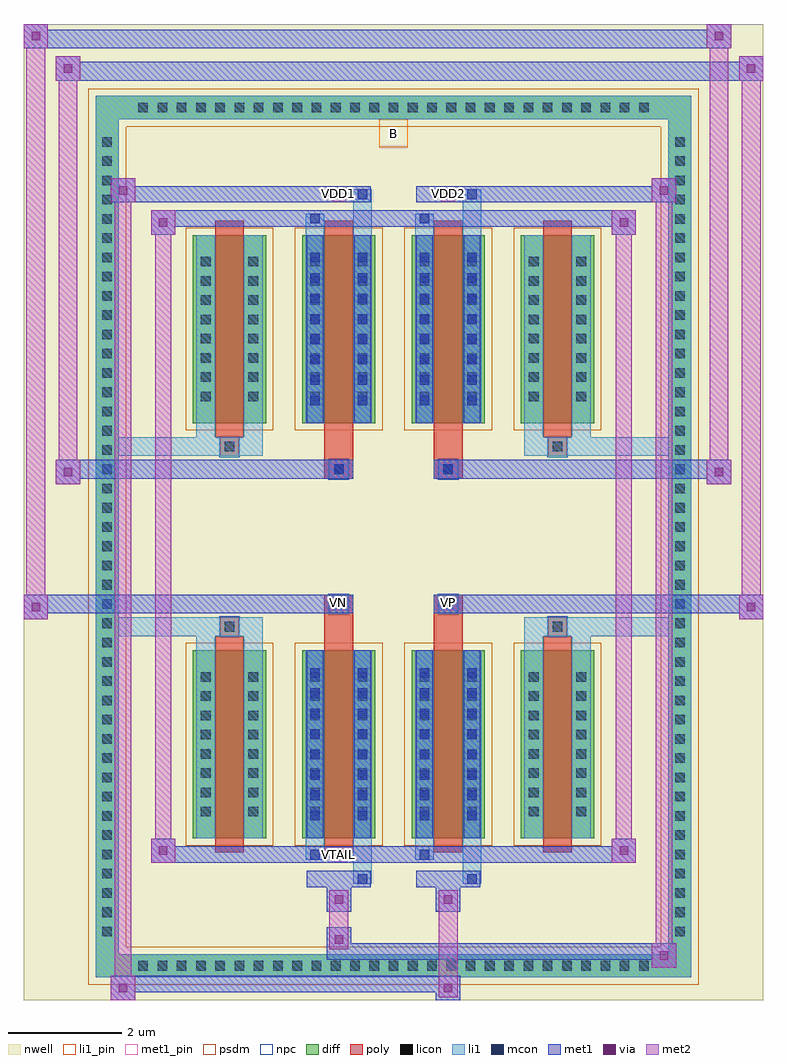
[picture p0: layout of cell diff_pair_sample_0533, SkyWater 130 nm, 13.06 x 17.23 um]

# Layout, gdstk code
import gdstk
lib = gdstk.Library(unit=1e-6, precision=5e-09)
def R(c, l, rs):  # rectangles x0, y0, x1, y1
    for r in rs: c.add(gdstk.rectangle(r[:2], r[2:], *l))
def A(c, l, x, y, w, h, nx, ny, dx, dy):  # array of equal rectangles
    R(c, l, [(x+i*dx, y+j*dy, x+i*dx+w, y+j*dy+h) for i in range(nx) for j in range(ny)])
def P(c, l, *ps):  # polygons
    for p in ps: c.add(gdstk.Polygon(p, *l))
nwell = (64, 20)
diff = (65, 20)
poly = (66, 20)
licon = (66, 44)
li1_pin = (67, 16)
li1 = (67, 20)
mcon = (67, 44)
met1_pin = (68, 16)
met1 = (68, 20)
via = (68, 44)
met2 = (69, 20)
psdm = (94, 20)
npc = (95, 20)

diff_pair_sample_0533 = lib.new_cell('diff_pair_sample_0533')
R(diff_pair_sample_0533, nwell, [(-6.53,-8.18,6.53,9.05), (-3.85,-6.37,-0.01,-0.825), (0.01,-6.37,3.85,-0.825), (-3.85,0.825,-0.01,6.37), (0.01,0.825,3.85,6.37)])
A(diff_pair_sample_0533, diff, -4.625, -7.78, 0.41, 0.41, 27, 2, 0.34, 15.15)
A(diff_pair_sample_0533, diff, -5.26, -7.175, 0.41, 0.41, 1, 42, 0, 0.34)
A(diff_pair_sample_0533, diff, 4.85, -7.175, 0.41, 0.41, 1, 42, 0, 0.34)
A(diff_pair_sample_0533, diff, -3.54, -5.325, 1.29, 3.32, 4, 2, 1.93, 7.33)
R(diff_pair_sample_0533, diff, [(-4.625,-7.78,4.625,-7.37), (-5.26,-7.175,-4.85,7.175), (4.85,-7.175,5.26,7.175), (-4.625,7.37,4.625,7.78)])
P(diff_pair_sample_0533, diff, [(5.26,7.78),(-5.26,7.78),(-5.26,-7.37),(-4.85,-7.37),(-4.85,7.37),(4.85,7.37),(4.85,-7.37),(-4.85,-7.37),(-5.26,-7.37),(-5.26,-7.78),(5.26,-7.78)])
A(diff_pair_sample_0533, poly, -3.15, -5.575, 0.51, 3.82, 4, 2, 1.93, 7.33)
R(diff_pair_sample_0533, poly, [(-3.06,-1.755,-2.73,-1.425), (-3.06,-1.755,-2.73,-1.425), (-1.22,-1.755,-0.71,-1.355), (0.71,-1.755,1.22,-1.355), (2.73,-1.755,3.06,-1.425), (2.73,-1.755,3.06,-1.425), (-1.22,-1.355,-0.71,-1.025), (-1.13,-1.355,-0.8,-1.025), (0.71,-1.355,1.22,-1.025), (0.8,-1.355,1.13,-1.025), (-1.22,1.025,-0.71,1.355), (-1.13,1.025,-0.8,1.355), (0.71,1.025,1.22,1.355), (0.8,1.025,1.13,1.355), (-1.22,1.355,-0.71,1.755), (0.71,1.355,1.22,1.755), (-3.06,1.425,-2.73,1.755), (-3.06,1.425,-2.73,1.755), (2.73,1.425,3.06,1.755), (2.73,1.425,3.06,1.755)])
A(diff_pair_sample_0533, licon, -4.505, -7.66, 0.17, 0.17, 27, 2, 0.34, 15.15)
A(diff_pair_sample_0533, licon, -5.14, -7.055, 0.17, 0.17, 1, 42, 0, 0.34)
A(diff_pair_sample_0533, licon, 4.97, -7.055, 0.17, 0.17, 1, 42, 0, 0.34)
A(diff_pair_sample_0533, licon, -3.4, -4.94, 0.17, 0.17, 1, 8, 0, 0.34)
A(diff_pair_sample_0533, licon, -2.56, -4.94, 0.17, 0.17, 1, 8, 0, 0.34)
A(diff_pair_sample_0533, licon, -1.47, -4.94, 0.17, 0.17, 1, 8, 0, 0.34)
A(diff_pair_sample_0533, licon, -0.63, -4.94, 0.17, 0.17, 1, 8, 0, 0.34)
A(diff_pair_sample_0533, licon, 0.46, -4.94, 0.17, 0.17, 1, 8, 0, 0.34)
A(diff_pair_sample_0533, licon, 1.3, -4.94, 0.17, 0.17, 1, 8, 0, 0.34)
A(diff_pair_sample_0533, licon, 2.39, -4.94, 0.17, 0.17, 1, 8, 0, 0.34)
A(diff_pair_sample_0533, licon, 3.23, -4.94, 0.17, 0.17, 1, 8, 0, 0.34)
A(diff_pair_sample_0533, licon, -3.4, 2.39, 0.17, 0.17, 1, 8, 0, 0.34)
A(diff_pair_sample_0533, licon, -2.56, 2.39, 0.17, 0.17, 1, 8, 0, 0.34)
A(diff_pair_sample_0533, licon, -1.47, 2.39, 0.17, 0.17, 1, 8, 0, 0.34)
A(diff_pair_sample_0533, licon, -0.63, 2.39, 0.17, 0.17, 1, 8, 0, 0.34)
A(diff_pair_sample_0533, licon, 0.46, 2.39, 0.17, 0.17, 1, 8, 0, 0.34)
A(diff_pair_sample_0533, licon, 1.3, 2.39, 0.17, 0.17, 1, 8, 0, 0.34)
A(diff_pair_sample_0533, licon, 2.39, 2.39, 0.17, 0.17, 1, 8, 0, 0.34)
A(diff_pair_sample_0533, licon, 3.23, 2.39, 0.17, 0.17, 1, 8, 0, 0.34)
R(diff_pair_sample_0533, licon, [(-2.98,-1.675,-2.81,-1.505), (2.81,-1.675,2.98,-1.505), (-1.05,-1.275,-0.88,-1.105), (0.88,-1.275,1.05,-1.105), (-1.05,1.105,-0.88,1.275), (0.88,1.105,1.05,1.275), (-2.98,1.505,-2.81,1.675), (2.81,1.505,2.98,1.675)])
R(diff_pair_sample_0533, li1_pin, [(-0.25,6.87,0.25,7.37)])
A(diff_pair_sample_0533, li1, -4.585, -7.74, 0.33, 0.33, 27, 2, 0.34, 15.15)
A(diff_pair_sample_0533, li1, -5.22, -7.135, 0.33, 0.33, 1, 42, 0, 0.34)
A(diff_pair_sample_0533, li1, 4.89, -7.135, 0.33, 0.33, 1, 42, 0, 0.34)
A(diff_pair_sample_0533, li1, -3.48, -5.02, 0.33, 0.33, 1, 8, 0, 0.34)
A(diff_pair_sample_0533, li1, -2.64, -5.02, 0.33, 0.33, 1, 8, 0, 0.34)
A(diff_pair_sample_0533, li1, -1.55, -5.02, 0.33, 0.33, 1, 8, 0, 0.34)
A(diff_pair_sample_0533, li1, -0.71, -5.02, 0.33, 0.33, 1, 8, 0, 0.34)
A(diff_pair_sample_0533, li1, 0.38, -5.02, 0.33, 0.33, 1, 8, 0, 0.34)
A(diff_pair_sample_0533, li1, 1.22, -5.02, 0.33, 0.33, 1, 8, 0, 0.34)
A(diff_pair_sample_0533, li1, 2.31, -5.02, 0.33, 0.33, 1, 8, 0, 0.34)
A(diff_pair_sample_0533, li1, 3.15, -5.02, 0.33, 0.33, 1, 8, 0, 0.34)
A(diff_pair_sample_0533, li1, -1.47, -5.01, 0.17, 0.17, 1, 8, 0, 0.36)
A(diff_pair_sample_0533, li1, -0.63, -5.01, 0.17, 0.17, 1, 8, 0, 0.36)
A(diff_pair_sample_0533, li1, 0.46, -5.01, 0.17, 0.17, 1, 8, 0, 0.36)
A(diff_pair_sample_0533, li1, 1.3, -5.01, 0.17, 0.17, 1, 8, 0, 0.36)
A(diff_pair_sample_0533, li1, -3.48, 2.31, 0.33, 0.33, 1, 8, 0, 0.34)
A(diff_pair_sample_0533, li1, -2.64, 2.31, 0.33, 0.33, 1, 8, 0, 0.34)
A(diff_pair_sample_0533, li1, -1.55, 2.31, 0.33, 0.33, 1, 8, 0, 0.34)
A(diff_pair_sample_0533, li1, -0.71, 2.31, 0.33, 0.33, 1, 8, 0, 0.34)
A(diff_pair_sample_0533, li1, 0.38, 2.31, 0.33, 0.33, 1, 8, 0, 0.34)
A(diff_pair_sample_0533, li1, 1.22, 2.31, 0.33, 0.33, 1, 8, 0, 0.34)
A(diff_pair_sample_0533, li1, 2.31, 2.31, 0.33, 0.33, 1, 8, 0, 0.34)
A(diff_pair_sample_0533, li1, 3.15, 2.31, 0.33, 0.33, 1, 8, 0, 0.34)
A(diff_pair_sample_0533, li1, -1.47, 2.32, 0.17, 0.17, 1, 8, 0, 0.36)
A(diff_pair_sample_0533, li1, -0.63, 2.32, 0.17, 0.17, 1, 8, 0, 0.36)
A(diff_pair_sample_0533, li1, 0.46, 2.32, 0.17, 0.17, 1, 8, 0, 0.36)
A(diff_pair_sample_0533, li1, 1.3, 2.32, 0.17, 0.17, 1, 8, 0, 0.36)
R(diff_pair_sample_0533, li1, [(-5.26,-7.78,-4.85,-7.37), (-5.26,-7.78,-4.85,-7.37), (-4.85,-7.78,4.85,-7.37), (4.85,-7.78,5.26,-7.37), (4.85,-7.78,5.26,-7.37), (-5.26,-7.37,-4.85,7.37), (4.85,-7.37,5.26,7.37), (-0.71,-6.13,-0.38,-5.325), (-0.63,-6.13,-0.46,-5.96), (1.22,-6.13,1.55,-5.325), (1.3,-6.13,1.47,-5.96), (-1.55,-5.7,-1.22,-5.325), (-1.47,-5.7,-1.3,-5.53), (0.38,-5.7,0.71,-5.325), (0.46,-5.7,0.63,-5.53), (-3.48,-5.325,-3.15,-2.005), (-2.64,-5.325,-2.31,-2.005), (-1.55,-5.325,-1.22,-2.005), (-0.71,-5.325,-0.38,-2.005), (0.38,-5.325,0.71,-2.005), (1.22,-5.325,1.55,-2.005), (2.31,-5.325,2.64,-2.005), (3.15,-5.325,3.48,-2.005), (-1.47,-5.01,-1.3,-2.32), (-0.63,-5.01,-0.46,-2.32), (0.46,-5.01,0.63,-2.32), (1.3,-5.01,1.47,-2.32), (-3.48,-2.005,-3.15,-1.425), (-2.64,-2.005,-2.31,-1.425), (2.31,-2.005,2.64,-1.425), (3.15,-2.005,3.48,-1.425), (-5.26,-1.755,-3.06,-1.425), (-3.48,-1.755,-3.06,-1.425), (-3.06,-1.755,-2.73,-1.425), (-2.73,-1.755,-2.31,-1.425), (2.31,-1.755,2.73,-1.425), (2.73,-1.755,3.06,-1.425), (2.73,-1.755,5.26,-1.425), (3.06,-1.755,3.48,-1.425), (-1.13,-1.355,-0.8,-1.025), (0.8,-1.355,1.13,-1.025), (-1.13,1.025,-0.8,1.355), (0.8,1.025,1.13,1.355), (-5.26,1.425,-3.06,1.755), (-3.48,1.425,-3.06,1.755), (-3.48,1.425,-3.15,2.005), (-3.06,1.425,-2.73,1.755), (-2.73,1.425,-2.31,1.755), (-2.64,1.425,-2.31,2.005), (2.31,1.425,2.73,1.755), (2.31,1.425,2.64,2.005), (2.73,1.425,3.06,1.755), (2.73,1.425,5.26,1.755), (3.06,1.425,3.48,1.755), (3.15,1.425,3.48,2.005), (-3.48,2.005,-3.15,5.325), (-2.64,2.005,-2.31,5.325), (-1.55,2.005,-1.22,5.325), (-0.71,2.005,-0.38,5.325), (0.38,2.005,0.71,5.325), (1.22,2.005,1.55,5.325), (2.31,2.005,2.64,5.325), (3.15,2.005,3.48,5.325), (-1.47,2.32,-1.3,5.01), (-0.63,2.32,-0.46,5.01), (0.46,2.32,0.63,5.01), (1.3,2.32,1.47,5.01), (-1.55,5.325,-1.22,5.7), (-0.71,5.325,-0.38,6.13), (0.38,5.325,0.71,5.7), (1.22,5.325,1.55,6.13), (-1.47,5.53,-1.3,5.7), (0.46,5.53,0.63,5.7), (-0.63,5.96,-0.46,6.13), (1.3,5.96,1.47,6.13), (-5.26,7.37,-4.85,7.78), (-5.26,7.37,-4.85,7.78), (-4.85,7.37,4.85,7.78), (4.85,7.37,5.26,7.78), (4.85,7.37,5.26,7.78)])
A(diff_pair_sample_0533, mcon, -1.47, -5.01, 0.17, 0.17, 1, 8, 0, 0.36)
A(diff_pair_sample_0533, mcon, -0.63, -5.01, 0.17, 0.17, 1, 8, 0, 0.36)
A(diff_pair_sample_0533, mcon, 0.46, -5.01, 0.17, 0.17, 1, 8, 0, 0.36)
A(diff_pair_sample_0533, mcon, 1.3, -5.01, 0.17, 0.17, 1, 8, 0, 0.36)
A(diff_pair_sample_0533, mcon, -1.47, 2.32, 0.17, 0.17, 1, 8, 0, 0.36)
A(diff_pair_sample_0533, mcon, -0.63, 2.32, 0.17, 0.17, 1, 8, 0, 0.36)
A(diff_pair_sample_0533, mcon, 0.46, 2.32, 0.17, 0.17, 1, 8, 0, 0.36)
A(diff_pair_sample_0533, mcon, 1.3, 2.32, 0.17, 0.17, 1, 8, 0, 0.36)
R(diff_pair_sample_0533, mcon, [(-0.63,-6.13,-0.46,-5.96), (1.3,-6.13,1.47,-5.96), (-1.47,-5.7,-1.3,-5.53), (0.46,-5.7,0.63,-5.53), (-1.05,-1.275,-0.88,-1.105), (0.88,-1.275,1.05,-1.105), (-1.05,1.105,-0.88,1.275), (0.88,1.105,1.05,1.275), (-1.47,5.53,-1.3,5.7), (0.46,5.53,0.63,5.7), (-0.63,5.96,-0.46,6.13), (1.3,5.96,1.47,6.13)])
R(diff_pair_sample_0533, met1_pin, [(-1.1,-5.74,-0.83,-5.47), (-1.1,-1.295,-0.83,-1.025), (0.83,-1.295,1.1,-1.025), (-1.1,5.92,-0.83,6.19), (0.83,5.92,1.1,6.19)])
A(diff_pair_sample_0533, met1, -1.53, -5.07, 0.29, 0.29, 1, 8, 0, 0.36)
A(diff_pair_sample_0533, met1, -0.69, -5.07, 0.29, 0.29, 1, 8, 0, 0.36)
A(diff_pair_sample_0533, met1, 0.4, -5.07, 0.29, 0.29, 1, 8, 0, 0.36)
A(diff_pair_sample_0533, met1, 1.24, -5.07, 0.29, 0.29, 1, 8, 0, 0.36)
A(diff_pair_sample_0533, met1, -1.53, 2.26, 0.29, 0.29, 1, 8, 0, 0.36)
A(diff_pair_sample_0533, met1, -0.69, 2.26, 0.29, 0.29, 1, 8, 0, 0.36)
A(diff_pair_sample_0533, met1, 0.4, 2.26, 0.29, 0.29, 1, 8, 0, 0.36)
A(diff_pair_sample_0533, met1, 1.24, 2.26, 0.29, 0.29, 1, 8, 0, 0.36)
R(diff_pair_sample_0533, met1, [(-4.99,-8.18,-4.56,-7.75), (0.75,-8.18,1.18,-7.75), (-4.99,-8.04,1.18,-7.75), (4.56,-7.61,4.99,-7.18), (-1.18,-7.47,4.99,-7.18), (-1.18,-7.33,-0.75,-6.9), (-1.18,-6.62,-0.75,-6.19), (0.75,-6.62,1.18,-6.19), (-1.53,-6.19,-0.4,-5.9), (-0.69,-6.19,-0.4,-5.9), (0.4,-6.19,1.53,-5.9), (1.24,-6.19,1.53,-5.9), (-4.28,-5.76,-3.85,-5.33), (-4.28,-5.76,-1.53,-5.47), (-1.53,-5.76,-1.24,-5.47), (-1.53,-5.76,-0.4,-5.47), (-0.4,-5.76,0.4,-5.47), (0.4,-5.76,0.69,-5.47), (0.4,-5.76,1.53,-5.47), (1.53,-5.76,4.28,-5.47), (3.85,-5.76,4.28,-5.33), (-1.53,-5.325,-1.24,-2.005), (-0.69,-5.325,-0.4,-2.005), (0.4,-5.325,0.69,-2.005), (1.24,-5.325,1.53,-2.005), (-6.53,-1.455,-6.1,-1.025), (6.1,-1.455,6.53,-1.025), (-6.53,-1.355,-0.71,-1.025), (-1.22,-1.355,-0.71,-1.025), (0.71,-1.355,1.22,-1.025), (0.71,-1.355,6.53,-1.025), (-1.11,-1.335,-0.82,-1.045), (0.82,-1.335,1.11,-1.045), (-5.96,0.925,-5.53,1.355), (5.53,0.925,5.96,1.355), (-5.96,1.025,-1.22,1.355), (-1.22,1.025,-0.71,1.355), (0.71,1.025,1.22,1.355), (1.22,1.025,5.96,1.355), (-1.11,1.045,-0.82,1.335), (0.82,1.045,1.11,1.335), (-1.53,2.005,-1.24,5.325), (-0.69,2.005,-0.4,5.325), (0.4,2.005,0.69,5.325), (1.24,2.005,1.53,5.325), (-4.28,5.33,-3.85,5.76), (3.85,5.33,4.28,5.76), (-4.28,5.47,-1.53,5.76), (-1.53,5.47,-1.24,5.76), (-1.53,5.47,-0.4,5.76), (-0.4,5.47,0.4,5.76), (0.4,5.47,0.69,5.76), (0.4,5.47,1.53,5.76), (1.53,5.47,4.28,5.76), (-4.99,5.9,-4.56,6.33), (-4.99,5.9,-1.53,6.19), (-1.53,5.9,-0.4,6.19), (-0.69,5.9,-0.4,6.19), (0.4,5.9,1.53,6.19), (1.24,5.9,1.53,6.19), (1.53,5.9,4.99,6.19), (4.56,5.9,4.99,6.33), (-5.96,8.05,-5.53,8.48), (-5.96,8.05,-3.85,8.38), (-3.85,8.05,3.85,8.38), (3.85,8.05,6.53,8.38), (6.1,8.05,6.53,8.48), (-6.53,8.62,-6.1,9.05), (-6.53,8.62,-3.85,8.95), (-3.85,8.62,3.85,8.95), (3.85,8.62,5.96,8.95), (5.53,8.62,5.96,9.05)])
R(diff_pair_sample_0533, via, [(-4.85,-8.04,-4.7,-7.89), (0.89,-8.04,1.04,-7.89), (4.7,-7.47,4.85,-7.32), (-1.04,-7.19,-0.89,-7.04), (-1.04,-6.48,-0.89,-6.33), (0.89,-6.48,1.04,-6.33), (-4.14,-5.62,-3.99,-5.47), (3.99,-5.62,4.14,-5.47), (-6.39,-1.315,-6.24,-1.165), (6.24,-1.315,6.39,-1.165), (-5.82,1.065,-5.67,1.215), (5.67,1.065,5.82,1.215), (-4.14,5.47,-3.99,5.62), (3.99,5.47,4.14,5.62), (-4.85,6.04,-4.7,6.19), (4.7,6.04,4.85,6.19), (-5.82,8.19,-5.67,8.34), (6.24,8.19,6.39,8.34), (-6.39,8.76,-6.24,8.91), (5.67,8.76,5.82,8.91)])
R(diff_pair_sample_0533, met2, [(-4.99,-8.18,-4.56,-7.75), (-4.92,-8.18,-4.63,6.33), (-4.63,-8.18,-4.56,-7.75), (-4.94,-8.13,-4.61,-7.8), (0.8,-8.13,1.13,-7.8), (0.8,-7.8,1.13,-6.57), (4.56,-7.61,4.99,-7.18), (4.63,-7.61,4.92,6.33), (4.92,-7.61,4.99,-7.18), (4.61,-7.56,4.94,-7.23), (-1.13,-7.28,-0.8,-6.95), (-1.13,-6.95,-0.8,-6.57), (-1.13,-6.57,-0.8,-6.24), (0.8,-6.57,1.13,-6.24), (-4.28,-5.76,-3.85,-5.33), (-4.21,-5.76,-3.92,5.76), (-3.92,-5.76,-3.85,-5.33), (3.85,-5.76,4.28,-5.33), (3.92,-5.76,4.21,5.76), (4.21,-5.76,4.28,-5.33), (-4.23,-5.71,-3.9,-5.38), (3.9,-5.71,4.23,-5.38), (-6.53,-1.455,-6.1,-1.025), (-6.48,-1.455,-6.15,9.05), (-6.15,-1.455,-6.1,-1.025), (6.1,-1.455,6.53,-1.025), (6.15,-1.455,6.48,8.48), (6.48,-1.455,6.53,-1.025), (-6.48,-1.405,-6.15,-1.075), (6.15,-1.405,6.48,-1.075), (-5.96,0.925,-5.53,1.355), (-5.91,0.925,-5.58,8.48), (-5.58,0.925,-5.53,1.355), (5.53,0.925,5.96,1.355), (5.58,0.925,5.91,9.05), (5.91,0.925,5.96,1.355), (-5.91,0.975,-5.58,1.305), (5.58,0.975,5.91,1.305), (-4.28,5.33,-3.85,5.76), (-3.92,5.33,-3.85,5.76), (3.85,5.33,4.28,5.76), (4.21,5.33,4.28,5.76), (-4.23,5.38,-3.9,5.71), (3.9,5.38,4.23,5.71), (-4.99,5.9,-4.56,6.33), (-4.63,5.9,-4.56,6.33), (4.56,5.9,4.99,6.33), (4.92,5.9,4.99,6.33), (-4.94,5.95,-4.61,6.28), (4.61,5.95,4.94,6.28), (-5.96,8.05,-5.53,8.48), (-5.58,8.05,-5.53,8.48), (6.1,8.05,6.53,8.48), (6.48,8.05,6.53,8.48), (-5.91,8.1,-5.58,8.43), (6.15,8.1,6.48,8.43), (-6.53,8.62,-6.1,9.05), (-6.15,8.62,-6.1,9.05), (5.53,8.62,5.96,9.05), (5.91,8.62,5.96,9.05), (-6.48,8.67,-6.15,9), (5.58,8.67,5.91,9)])
A(diff_pair_sample_0533, psdm, -3.67, -5.455, 1.55, 3.58, 4, 2, 1.93, 7.33)
P(diff_pair_sample_0533, psdm, [(5.39,7.91),(-5.39,7.91),(-5.39,-7.24),(-4.72,-7.24),(-4.72,7.24),(4.72,7.24),(4.72,-7.24),(-4.72,-7.24),(-5.39,-7.24),(-5.39,-7.91),(5.39,-7.91)])
R(diff_pair_sample_0533, npc, [(-3.08,-1.775,-2.71,-1.405), (2.71,-1.775,3.08,-1.405), (-1.15,-1.375,-0.78,-1.005), (0.78,-1.375,1.15,-1.005), (-1.15,1.005,-0.78,1.375), (0.78,1.005,1.15,1.375), (-3.08,1.405,-2.71,1.775), (2.71,1.405,3.08,1.775)])
diff_pair_sample_0533.add(gdstk.Label('VTAIL', (-0.965,-5.605), layer=68, texttype=5))
diff_pair_sample_0533.add(gdstk.Label('VN', (-0.965,-1.16), layer=68, texttype=5))
diff_pair_sample_0533.add(gdstk.Label('VP', (0.965,-1.16), layer=68, texttype=5))
diff_pair_sample_0533.add(gdstk.Label('B', (0,7.12), layer=67, texttype=5))
diff_pair_sample_0533.add(gdstk.Label('VDD2', (0.965,6.055), layer=68, texttype=5))
diff_pair_sample_0533.add(gdstk.Label('VDD1', (-0.965,6.055), layer=68, texttype=5))

lib.write_gds('diff_pair_sample_0533.gds')
